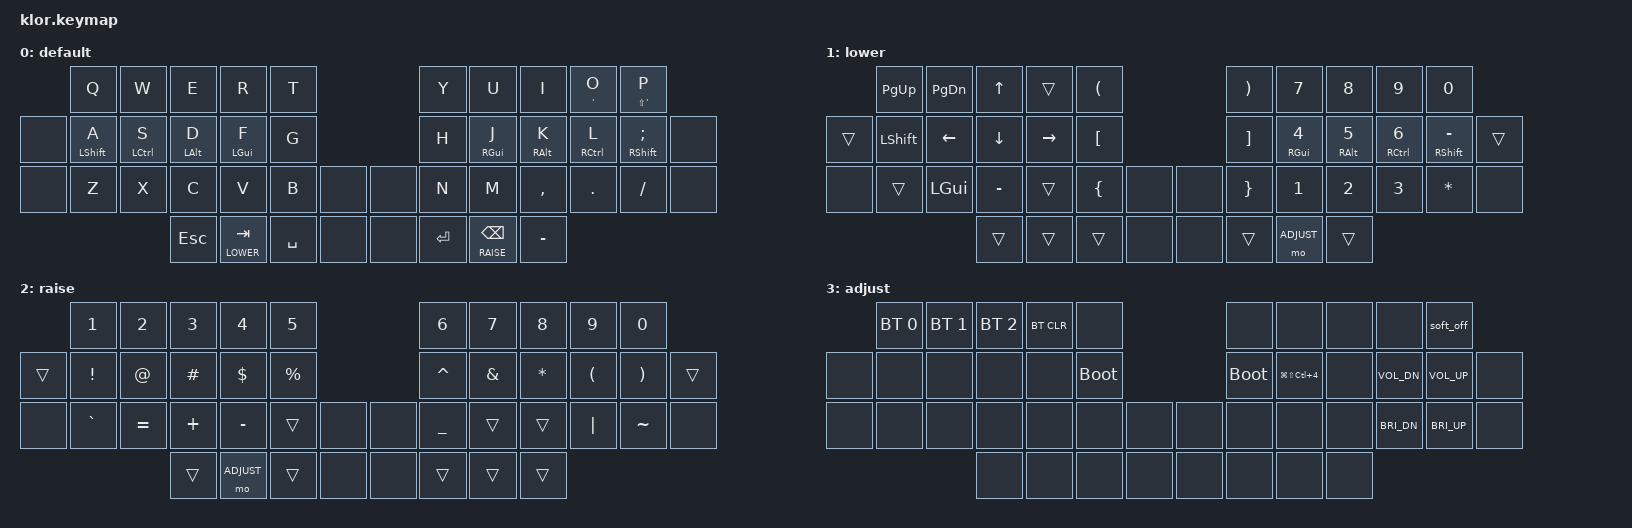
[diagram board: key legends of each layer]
#include <behaviors.dtsi>
#include <dt-bindings/zmk/keys.h>
#include <dt-bindings/zmk/bt.h>
#include <dt-bindings/zmk/outputs.h>
#include <dt-bindings/zmk/ext_power.h>

#define BASE   0
#define LOWER  1
#define RAISE  2
#define ADJUST 3

// Klor matrix position map (44 positions; outer pinkies + middle/encoder are unused on 36-key):
//                  0  1  2  3  4         5  6  7  8  9
//             10  11 12 13 14 15        16 17 18 19 20 21
//             22  23 24 25 26 27 28 29  30 31 32 33 34 35
//                          36 37 38 39  40 41 42 43
// 36-key thumbs: physical thumbs at 36/37/38 (left, outer to inner) and 41/42/43 (right, inner to outer);
// 39 and 40 are the inner-most thumb positions which don't exist on the 36-key.

/ {
    behaviors {
        hml: homerow_mods_left {
            compatible = "zmk,behavior-hold-tap";
            #binding-cells = <2>;
            tapping-term-ms = <220>;
            quick-tap-ms = <175>;
            require-prior-idle-ms = <80>;
            flavor = "balanced";
            bindings = <&kp>, <&kp>;
            hold-trigger-key-positions = <5 6 7 8 9 16 17 18 19 20 21 30 31 32 33 34 35 40 41 42 43>;
            hold-trigger-on-release;
        };

        hmr: homerow_mods_right {
            compatible = "zmk,behavior-hold-tap";
            #binding-cells = <2>;
            tapping-term-ms = <220>;
            quick-tap-ms = <175>;
            require-prior-idle-ms = <80>;
            flavor = "balanced";
            bindings = <&kp>, <&kp>;
            hold-trigger-key-positions = <0 1 2 3 4 10 11 12 13 14 15 22 23 24 25 26 27 36 37 38 39>;
            hold-trigger-on-release;
        };

        ht: hold_tap_kp {
            compatible = "zmk,behavior-hold-tap";
            #binding-cells = <2>;
            tapping-term-ms = <200>;
            quick-tap-ms = <175>;
            flavor = "tap-preferred";
            bindings = <&kp>, <&kp>;
        };
    };

    keymap {
        compatible = "zmk,keymap";

        default_layer {
            display-name = "default";
            bindings = <
                  &kp Q         &kp W         &kp E        &kp R        &kp T                                          &kp Y      &kp U        &kp I        &ht SQT O     &ht LS(SQT) P
&none             &hml LSHFT A  &hml LCTRL S  &hml LALT D  &hml LGUI F  &kp G                                          &kp H      &hmr RGUI J  &hmr RALT K  &hmr RCTRL L  &hmr RSHFT SEMI  &none
&none             &kp Z         &kp X         &kp C        &kp V        &kp B        &none           &none             &kp N      &kp M        &kp COMMA    &kp DOT       &kp FSLH         &none
                                              &kp ESCAPE   &lt LOWER TAB &kp SPACE   &none          &none             &kp ENTER  &lt RAISE BSPC &kp MINUS
            >;
        };

        lower_layer {
            display-name = "lower";
            bindings = <
                  &kp PG_UP     &kp PG_DN     &kp UP       &trans       &kp LPAR                                       &kp RPAR   &kp N7       &kp N8       &kp N9        &kp N0
&trans            &kp LSHFT     &kp LEFT      &kp DOWN     &kp RIGHT    &kp LBKT                                       &kp RBKT   &hmr RGUI N4 &hmr RALT N5 &hmr RCTRL N6 &hmr RSHFT MINUS &trans
&none             &trans        &kp LGUI      &kp MINUS    &trans       &kp LBRC     &none           &none             &kp RBRC   &kp N1       &kp N2       &kp N3        &kp STAR         &none
                                              &trans       &trans       &trans       &none          &none              &trans     &mo ADJUST   &trans
            >;
        };

        raise_layer {
            display-name = "raise";
            bindings = <
                  &kp N1        &kp N2        &kp N3       &kp N4       &kp N5                                         &kp N6     &kp N7       &kp N8       &kp N9        &kp N0
&trans            &kp EXCL      &kp AT        &kp HASH     &kp DOLLAR   &kp PERCENT                                    &kp CARET  &kp AMPS     &kp STAR     &kp LPAR      &kp RPAR         &trans
&none             &kp GRAVE     &kp EQUAL     &kp PLUS     &kp MINUS    &trans       &none           &none             &kp UNDER  &trans       &trans       &kp PIPE      &kp TILDE        &none
                                              &trans       &mo ADJUST   &trans       &none          &none              &trans     &trans       &trans
            >;
        };

        adjust_layer {
            display-name = "adjust";
            bindings = <
                  &bt BT_SEL 0  &bt BT_SEL 1  &bt BT_SEL 2 &bt BT_CLR   &none                                          &none      &none        &none        &none         &soft_off
&none             &none         &none         &none        &none        &bootloader                                    &bootloader &kp LG(LS(LC(N4))) &none &kp C_VOL_DN  &kp C_VOL_UP     &none
&none             &none         &none         &none        &none        &none        &none           &none             &none      &none        &none        &kp C_BRI_DN  &kp C_BRI_UP     &none
                                              &none        &none        &none        &none          &none              &none      &none        &none
            >;
        };
    };
};
